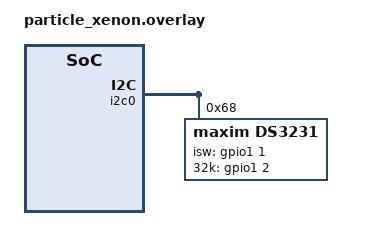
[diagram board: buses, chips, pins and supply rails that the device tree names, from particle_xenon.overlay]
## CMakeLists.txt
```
# SPDX-License-Identifier: Apache-2.0

cmake_minimum_required(VERSION 3.13.1)
include($ENV{ZEPHYR_BASE}/cmake/app/boilerplate.cmake NO_POLICY_SCOPE)
project(rtc_ds3231)

FILE(GLOB app_sources src/*.c)
target_sources(app PRIVATE ${app_sources})
```

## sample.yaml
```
sample:
  name: RTC Driver Sample
tests:
  sample.driver.rtc:
    tags: drivers
    harness: console
    harness_config:
        type: multi_line
        ordered: true
        regex:
            - "Test RTC driver"
            - "Alarm"
    depends_on: rtc
```

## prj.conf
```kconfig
CONFIG_PRINTK=y
CONFIG_NEWLIB_LIBC=y
CONFIG_COUNTER=y
CONFIG_COUNTER_DS3231=y
CONFIG_LOG=y
CONFIG_COUNTER_LOG_LEVEL_DBG=y
CONFIG_STDOUT_CONSOLE=y
```

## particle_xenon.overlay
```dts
/*
 * Copyright (c) 2019 Peter Bigot Consulting, LLC
 *
 * SPDX-License-Identifier: Apache-2.0
 */

&i2c0 { /* SDA 0, SCL 1 */
	ds3231@68 {
		compatible = "maxim,ds3231";
		reg = <0x68>;
		label = "DS3231";
		isw-gpios = <&gpio1 1 0>;
		32k-gpios = <&gpio1 2 0>;
	};
};
```

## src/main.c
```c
/*
 * Copyright (c) 2019 Peter Bigot Consulting, LLC
 *
 * SPDX-License-Identifier: Apache-2.0
 */

#include <zephyr.h>

#include <device.h>
#include <counter.h>
#include <misc/printk.h>
#include <drivers/rtc/ds3231.h>

void main(void)
{
	struct device *ds3231;
	char buf[128];

	printk("Test DS3231 driver\n");
	ds3231 = device_get_binding(DT_INST_0_MAXIM_DS3231_LABEL);
	if (!ds3231) {
		printk("No device available\n");
		return;
	}

	printk("Counter at %p\n", ds3231);
	printk("\tMax top value: %u (%08x)\n",
	       counter_get_max_top_value(ds3231),
	       counter_get_max_top_value(ds3231));
	printk("\t%u channels\n", counter_get_num_of_channels(ds3231));
	printk("\t%u Hz\n", counter_get_frequency(ds3231));

	printk("Top counter value: %u (%08x)\n",
	       counter_get_top_value(ds3231),
	       counter_get_top_value(ds3231));

	time_t now = counter_read(ds3231);
	struct tm *tp = gmtime(&now);

	strftime(buf, sizeof(buf), "%Y-%m-%d %H:%M:%S %a %j", tp);
	printk("Now %u: %s\n", (u32_t)now, buf);

	int rc = rtc_ds3231_get_ctrlstat(ds3231);

	if (rc < 0) {
		printk("Get config failed: %d\n", rc);
		return;
	}
	printk("CtrlStat: %04x\n", rc);

	struct rtc_ds3231_alarms alarms;

	rc = rtc_ds3231_get_alarms(ds3231, &alarms);
	printk("Get alarms: %d\n", rc);
	if (rc >= 0) {
		printk("Alarm 1 flags %x at %u\n", alarms.flags[0], (u32_t)alarms.time[0]);
		printk("Alarm 2 flags %x at %u\n", alarms.flags[1], (u32_t)alarms.time[1]);
	}

	alarms.time[0] = now + 5;
	alarms.flags[0] = RTC_DS3231_ALARM_FLAGS_ENABLED;
	alarms.time[1] = now + 60;
	alarms.flags[1] = RTC_DS3231_ALARM_FLAGS_ENABLED | RTC_DS3231_ALARM_FLAGS_DOW;

	rc = rtc_ds3231_set_alarms(ds3231, &alarms);
	printk("Set alarms: %d\n", rc);

	rc = rtc_ds3231_get_alarms(ds3231, &alarms);
	printk("Get alarms: %d\n", rc);
	if (rc >= 0) {
		tp = gmtime(alarms.time + 0);
		strftime(buf, sizeof(buf), "%Y-%m-%d %H:%M:%S %a %j", tp);
		printk("Alarm 1 flags %x at %u ~ %s\n", alarms.flags[0],
		       (u32_t)alarms.time[0], buf);
		tp = gmtime(alarms.time + 1);
		strftime(buf, sizeof(buf), "%Y-%m-%d %H:%M:%S %a %j", tp);
		printk("Alarm 2 flags %x at %u ~ %s\n", alarms.flags[1],
		       (u32_t)alarms.time[1], buf);
	}

	unsigned int count = 5;

	do {
		static u16_t lcs;

		k_sleep(1000);

		time_t now = counter_read(ds3231);
		u16_t cs = rtc_ds3231_get_ctrlstat(ds3231);

		if (lcs != cs) {
			tp = gmtime(&now);
			strftime(buf, sizeof(buf), "%Y-%m-%d %H:%M:%S %a %j", tp);
			printk("Counter %u, %s, ctrl %04x\n", (u32_t)now, buf, cs);
			lcs = cs;
			--count;
		}
	} while (count);
}
```
